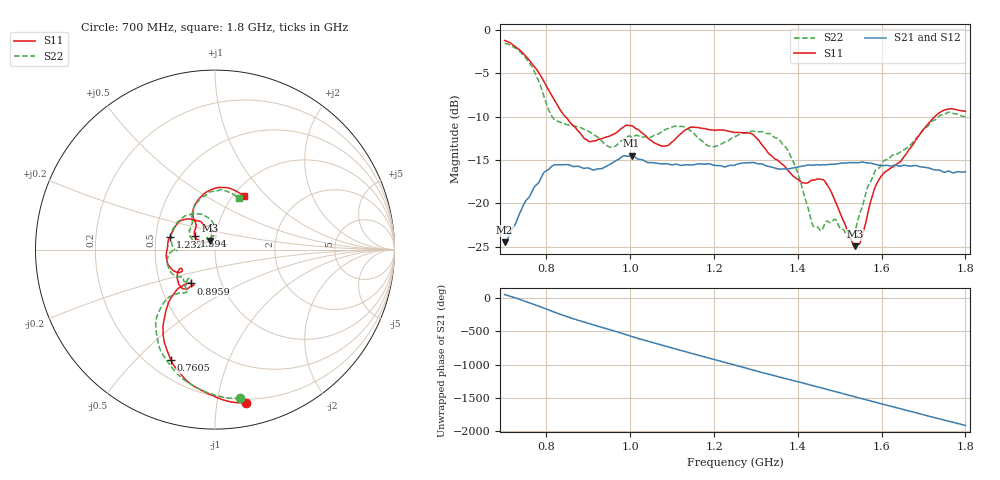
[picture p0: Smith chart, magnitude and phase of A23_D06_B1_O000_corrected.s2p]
! Created with skrf 1.9.0 (http://scikit-rf.org).
# Hz S RI R 50.0
!freq ReS11 ImS11 ReS21 ImS21 ReS12 ImS12 ReS22 ImS22
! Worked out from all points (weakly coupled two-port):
!   1601 points, 700 MHz to 1.8 GHz, reference 50 ohm
!   highest |S21| = -14.49 dB at 1.003 GHz (marker M1); lowest = -24.5 dB at 700 MHz (marker M2)
!   lowest |S11| = -24.9 dB at 1.537 GHz (marker M3), VSWR 1.12, Z = 47.2 + j4.75 ohm
!   |S11| at or under -10 dB: 845.3 MHz to 1.727 GHz (881.3 MHz wide, 68.5 % of centre)
!   |S22| runs from -24.0 to -1.5 dB; largest |S21 - S12| = 0.0034
!   S11 on the Smith chart (normalised r, x): 700 MHz: 0.17, -1.21; 760.5 MHz: 0.29, -0.64; 895.9 MHz: 0.71, -0.28; 1.232 GHz: 0.59, +0.09; 1.594 GHz: 0.79, +0.12; 1.8 GHz: 1.12, +0.76
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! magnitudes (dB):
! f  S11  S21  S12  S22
! 700 MHz  -1.2  -24.5  -24.3  -1.5
! 760.5 MHz  -3.6  -19.1  -19.0  -3.9
! 816.2 MHz  -7.8  -15.6  -15.7  -10.2
! 883.6 MHz  -12.1  -15.9  -15.8  -11.3
! 895.9 MHz  -12.7  -15.9  -16.0  -11.6
! 953 MHz  -12.2  -15.4  -15.4  -13.5
! 1.003 GHz  -11.0  -14.5  -14.6  -12.3
! 1.067 GHz  -13.2  -15.4  -15.4  -12.0
! 1.145 GHz  -11.2  -15.6  -15.6  -11.6
! 1.19 GHz  -11.5  -15.4  -15.5  -13.4
! 1.232 GHz  -11.7  -15.7  -15.7  -12.8
! 1.25 GHz  -11.8  -15.6  -15.5  -12.3
! 1.357 GHz  -15.2  -16.1  -16.0  -12.7
! 1.394 GHz  -17.1  -15.9  -15.8  -15.8
! 1.434 GHz  -17.3  -15.6  -15.6  -22.3
! 1.469 GHz  -17.8  -15.5  -15.5  -22.1
! 1.537 GHz  -24.9  -15.3  -15.3  -23.1
! 1.55 GHz  -24.3  -15.2  -15.3  -20.8
! 1.594 GHz  -17.3  -15.6  -15.6  -15.9
! 1.617 GHz  -16.1  -15.6  -15.6  -14.9
! 1.735 GHz  -9.6  -16.1  -16.2  -10.0
! 1.8 GHz  -9.4  -16.4  -16.3  -10.0
